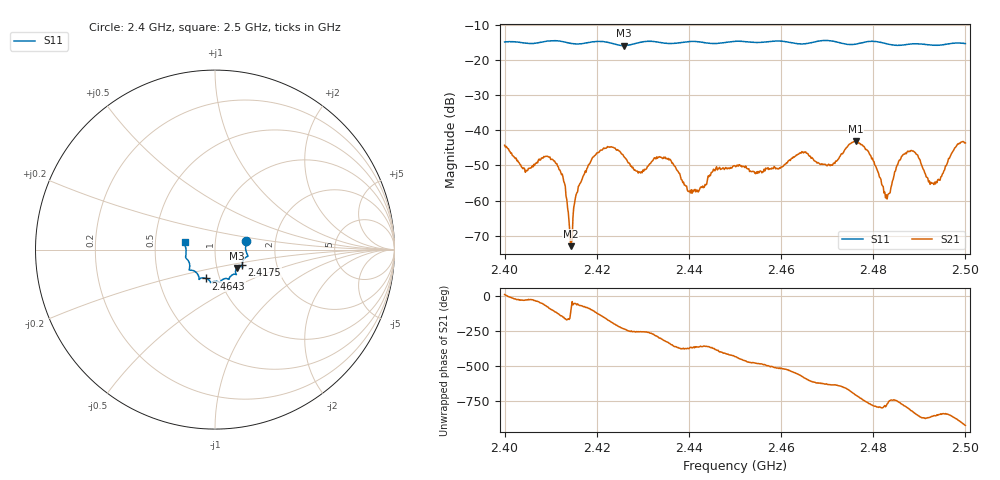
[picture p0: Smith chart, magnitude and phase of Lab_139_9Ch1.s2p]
# Hz S RI R 50
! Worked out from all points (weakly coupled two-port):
!   601 points, 2.4 GHz to 2.5 GHz, reference 50 ohm
!   highest |S21| = -43.20 dB at 2.4762 GHz (marker M1); lowest = -73.0 dB at 2.4143 GHz (marker M2)
!   lowest |S11| = -15.9 dB at 2.4258 GHz (marker M3), VSWR 1.38, Z = 62.4 - j13.1 ohm
!   |S11| at or under -10 dB: start of sweep to end of sweep
!   S12 and S22 are empty: the file has one direction only
!   S11 on the Smith chart (normalised r, x): 2.4 GHz: 1.41, +0.14; 2.4175 GHz: 1.33, -0.23; 2.4643 GHz: 0.86, -0.29; 2.5 GHz: 0.72, +0.06
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2.4e9  0.1731 0.0486  0.00599 0.00119  0 0  0 0
2.4045e9  0.1713 0.021  0.00225 -0.00114  0 0  0 0
2.411e9  0.1838 -0.0356  -0.00141 -0.00317  0 0  0 0
2.412667e9  0.1771 -0.0396  -0.00189 -0.00105  0 0  0 0
2.414333e9  0.1642 -0.0489  -0.0001 -0.000201  0 0  0 0
2.416667e9  0.1523 -0.074  0.000677 -0.00177  0 0  0 0
2.4175e9  0.1513 -0.0836  0.00049 -0.00258  0 0  0 0
2.421833e9  0.1528 -0.0957  -0.00514 -0.00207  0 0  0 0
2.425833e9  0.1219 -0.1027  -0.0025 0.00347  0 0  0 0
2.429333e9  0.116 -0.1338  -0.000634 0.00246  0 0  0 0
2.433333e9  0.1136 -0.1373  0.00164 0.00383  0 0  0 0
2.440167e9  0.0785 -0.1646  0.00135 -0.000257  0 0  0 0
2.45e9  0.0286 -0.1814  0.00086 -0.003  0 0  0 0
2.455667e9  -0.0038 -0.1772  -0.0015 -0.00212  0 0  0 0
2.464333e9  -0.0498 -0.1607  -0.00403 0.00244  0 0  0 0
2.466667e9  -0.0762 -0.1586  -0.00126 0.0039  0 0  0 0
2.471167e9  -0.0883 -0.1625  0.000389 0.00316  0 0  0 0
2.476167e9  -0.1183 -0.1182  0.00679 0.0013  0 0  0 0
2.483333e9  -0.1405 -0.0899  0.000996 -0.000755  0 0  0 0
2.487e9  -0.1551 -0.0547  0.00155 -0.00448  0 0  0 0
2.493333e9  -0.1607 -0.0104  -0.00134 -0.00124  0 0  0 0
2.5e9  -0.1645 0.0432  -0.00583 0.00307  0 0  0 0
